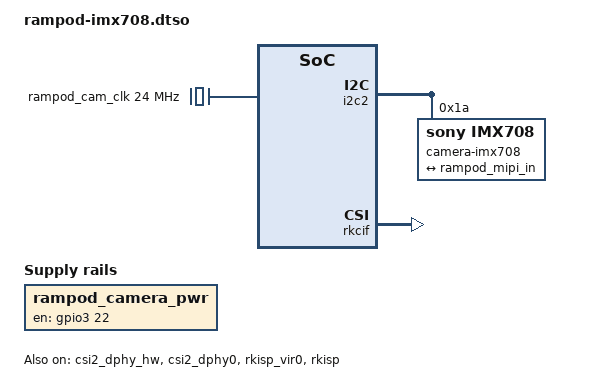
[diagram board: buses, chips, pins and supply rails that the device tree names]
// rampod camera overlay: a Raspberry Pi Camera Module 3 / Arducam IMX708 on the
// 22-pin CSI connector. A unit with a different camera lists a different
// overlay in armbianEnv.txt instead of this one.
//
// This is the vendor image's radxa-zero3-rpi-camera-v2 overlay (IMX219) with
// the sensor node swapped. The sensor node follows the vendor tree's own IMX708
// description, recomputer-rk3588-devkit-cam.dtsi: address 0x1a, clock "xclk",
// two lanes, 450 MHz link. The pipeline around it -- dphy0, rkisp_vir0, rkisp,
// rkcif and their IOMMUs -- is the IMX219 overlay's, unchanged.
//
// Not here: lens-focus. The autofocus motor's driver (dw9807 in that tree) is
// not built, and its compatible collides with the in-tree dw9807-vcm.
//
// Plain numbers rather than #include <dt-bindings/...>: dtc alone compiles this.

/dts-v1/;
/plugin/;

/ {
	metadata {
		title = "rampod IMX708 camera";
		compatible = "radxa,zero3";
		category = "camera";
		exclusive = "csi2_dphy0";
		description = "Raspberry Pi Camera Module 3 (IMX708) on CSI, two lanes.";
	};

	fragment@0 {
		target-path = "/";
		__overlay__ {
			rampod_cam_clk: rampod-camera-clock-24m {
				compatible = "fixed-clock";
				#clock-cells = <0>;
				clock-frequency = <24000000>;
				clock-output-names = "rampod_cam_24m";
			};

			// The camera's power enable, GPIO3_C6, held on -- as the vendor's
			// IMX219 overlay does for the same connector.
			rampod-camera-pwr {
				compatible = "regulator-fixed";
				regulator-name = "rampod_camera_pwr";
				regulator-always-on;
				regulator-boot-on;
				enable-active-high;
				// <&gpio3 RK_PC6 GPIO_ACTIVE_HIGH>
				gpio = <&gpio3 22 0>;
			};
		};
	};

	fragment@1 {
		target = <&i2c2>;
		__overlay__ {
			status = "okay";
			pinctrl-names = "default";
			pinctrl-0 = <&i2c2m1_xfer>;
			#address-cells = <1>;
			#size-cells = <0>;

			camera-imx708@1a {
				compatible = "sony,imx708";
				reg = <0x1a>;
				clocks = <&rampod_cam_clk>;
				clock-names = "xclk";
				rockchip,camera-module-index = <0>;
				rockchip,camera-module-facing = "back";
				rockchip,camera-module-name = "rpi-camera-v3";
				rockchip,camera-module-lens-name = "default";
				status = "okay";

				port {
					rampod_cam_out: endpoint {
						remote-endpoint = <&rampod_mipi_in>;
						data-lanes = <1 2>;
						link-frequencies = /bits/ 64 <450000000>;
					};
				};
			};
		};
	};

	fragment@2 {
		target = <&csi2_dphy_hw>;
		__overlay__ {
			status = "okay";
		};
	};

	fragment@3 {
		target = <&csi2_dphy0>;
		__overlay__ {
			status = "okay";
			ports {
				#address-cells = <1>;
				#size-cells = <0>;
				port@0 {
					reg = <0>;
					#address-cells = <1>;
					#size-cells = <0>;
					rampod_mipi_in: endpoint@1 {
						reg = <1>;
						remote-endpoint = <&rampod_cam_out>;
						data-lanes = <1 2>;
					};
				};
				port@1 {
					reg = <1>;
					#address-cells = <1>;
					#size-cells = <0>;
					rampod_dphy_out: endpoint@1 {
						reg = <1>;
						remote-endpoint = <&rampod_isp_in>;
					};
				};
			};
		};
	};

	fragment@4 {
		target = <&rkisp_vir0>;
		__overlay__ {
			status = "okay";
			port {
				#address-cells = <1>;
				#size-cells = <0>;
				rampod_isp_in: endpoint@0 {
					reg = <0>;
					remote-endpoint = <&rampod_dphy_out>;
				};
			};
		};
	};

	fragment@5 {
		target = <&rkisp>;
		__overlay__ {
			status = "okay";
		};
	};

	fragment@6 {
		target = <&rkisp_mmu>;
		__overlay__ {
			status = "okay";
		};
	};

	fragment@7 {
		target = <&rkcif_mmu>;
		__overlay__ {
			status = "okay";
		};
	};

	fragment@8 {
		target = <&rkcif>;
		__overlay__ {
			status = "okay";
		};
	};
};
